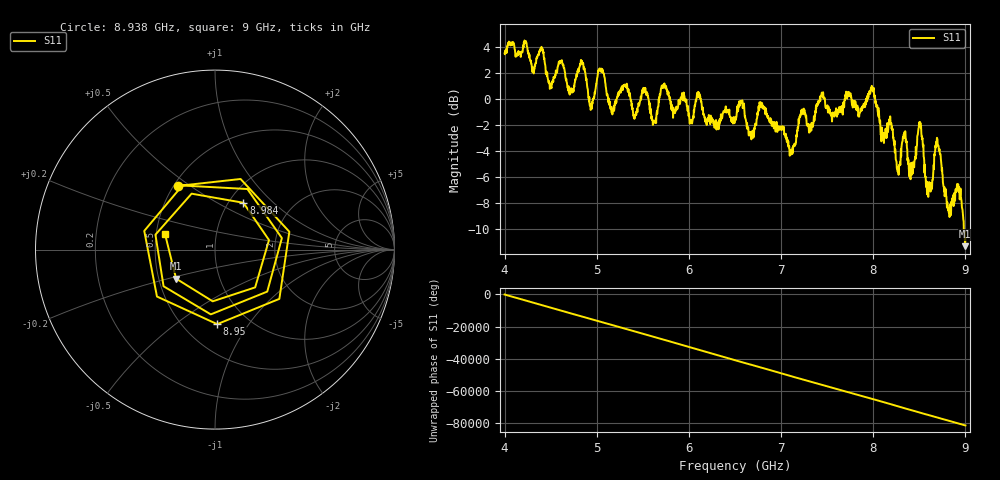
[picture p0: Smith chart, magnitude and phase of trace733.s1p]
! Created with skrf 1.8.0 (http://scikit-rf.org).
# Hz S RI R 50.0
!freq ReS11 ImS11
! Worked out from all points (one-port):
!   1601 points, 4 GHz to 9 GHz, reference 50 ohm
!   lowest |S11| = -11.4 dB at 8.997 GHz (marker M1), VSWR 1.74, Z = 30.8 - j10.7 ohm
!   |S11| at or under -10 dB: 8.982945 GHz to end of sweep
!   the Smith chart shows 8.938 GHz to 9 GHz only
!   S11 on the Smith chart (normalised r, x): 8.938 GHz: 0.53, +0.45; 8.95 GHz: 0.72, -0.72; 8.984 GHz: 1.17, +0.67; 9 GHz: 0.56, +0.10
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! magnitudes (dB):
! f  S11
! 4 GHz  3.5
! 4.625 GHz  2.9
! 4.722 GHz  0.5
! 4.844 GHz  2.8
! 4.934 GHz  -0.8
! 5.041 GHz  2.3
! 5.156 GHz  -0.6
! 5.25 GHz  0.5
! 5.875 GHz  -0.8
! 6.5 GHz  -1.4
! 6.681 GHz  -2.6
! 6.791 GHz  -0.4
! 7.125 GHz  -3.7
! 7.228 GHz  -0.8
! 7.75 GHz  0.4
! 7.994 GHz  0.9
! 8.269 GHz  -5.3
! 8.375 GHz  -4.6
! 8.425 GHz  -5.4
! 8.509 GHz  -2.1
! 8.597 GHz  -7.6
! 8.694 GHz  -3.0
! 8.819 GHz  -8.7
! 8.938 GHz  -7.7
! 8.95 GHz  -7.6
! 8.984 GHz  -10.3
! 8.997 GHz  -11.4
! 9 GHz  -10.7
